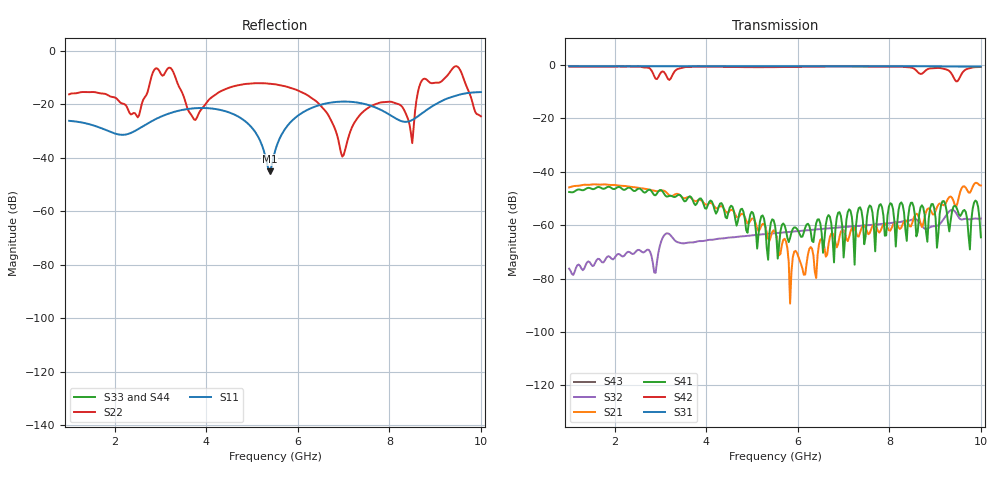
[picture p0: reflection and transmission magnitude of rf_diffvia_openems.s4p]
! kicad2ems openEMS FDTD (rf_diffvia); not computed (written as 0): S(P2d,P2d), S(P2d,P2c), S(P2c,P2d), S(P2c,P2c)
! ports: 1=P1d, 2=P1c, 3=P2d, 4=P2c
[Version] 2.0
# Hz S RI R 100
[Number of Ports] 4
[Reference] 100 25 100 25
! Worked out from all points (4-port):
!   301 points, 1 GHz to 10 GHz, reference per port
!   strongest paths, dB at 1 GHz, 3.25 GHz, 5.5 GHz, 7.75 GHz, 10 GHz:
!     S31: -0.4, -0.5, -0.4, -0.5, -0.6
!     S42: -0.6, -4.1, -0.8, -0.6, -0.7
!     S41: -47.5, -49.1, -60.0, -54.5, -64.5
!     S21: -45.8, -49.1, -62.3, -62.1, -45.1
!     S32: -76.2, -64.4, -63.0, -59.7, -57.5
!     S43: -, -, -, -, -
!   lowest |S11| = -45.1 dB at 5.38 GHz (marker M1), VSWR 1.01
!   |S11| at or under -10 dB: start of sweep to end of sweep
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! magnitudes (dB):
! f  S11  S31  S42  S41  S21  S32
! 1 GHz  -26.1  -0.4  -0.6  -47.5  -45.8  -76.2
! 4.36 GHz  -22.3  -0.5  -0.7  -52.6  -53.2  -65.0
! 5.38 GHz  -45.1  -0.4  -0.8  -62.6  -65.8  -63.2
! 6.4 GHz  -20.6  -0.5  -0.6  -59.2  -79.8  -61.6
! 6.97 GHz  -18.9  -0.5  -0.5  -60.3  -61.6  -60.7
! 9.43 GHz  -16.8  -0.6  -5.5  -52.6  -52.4  -54.8
! 10 GHz  -15.4  -0.6  -0.7  -64.5  -45.1  -57.5
